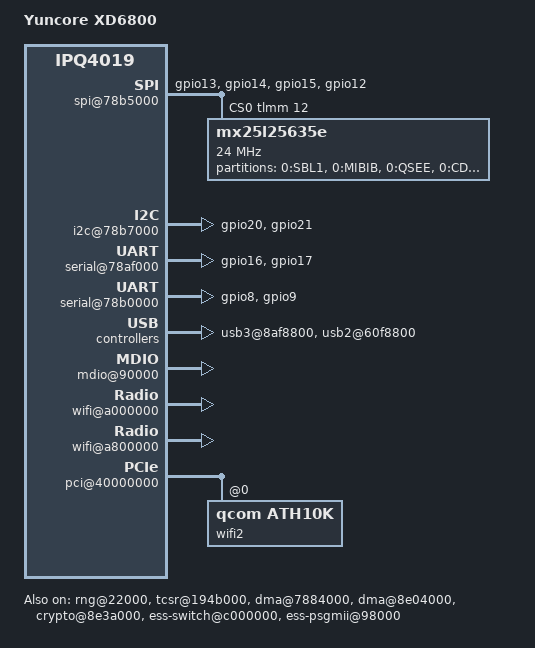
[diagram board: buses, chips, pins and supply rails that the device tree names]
/* Copyright (c) 2015, The Linux Foundation. All rights reserved.
 * Copyright (c) 2017-2018, Sven Eckelmann <sven.eckelmann@openmesh.com>
 *
 * Permission to use, copy, modify, and/or distribute this software for any
 * purpose with or without fee is hereby granted, provided that the above
 * copyright notice and this permission notice appear in all copies.
 *
 * THE SOFTWARE IS PROVIDED "AS IS" AND THE AUTHOR DISCLAIMS ALL WARRANTIES
 * WITH REGARD TO THIS SOFTWARE INCLUDING ALL IMPLIED WARRANTIES OF
 * MERCHANTABILITY AND FITNESS. IN NO EVENT SHALL THE AUTHOR BE LIABLE FOR
 * ANY SPECIAL, DIRECT, INDIRECT, OR CONSEQUENTIAL DAMAGES OR ANY DAMAGES
 * WHATSOEVER RESULTING FROM LOSS OF USE, DATA OR PROFITS, WHETHER IN AN
 * ACTION OF CONTRACT, NEGLIGENCE OR OTHER TORTIOUS ACTION, ARISING OUT OF
 * OR IN CONNECTION WITH THE USE OR PERFORMANCE OF THIS SOFTWARE.
 *
 */

#include "qcom-ipq4019.dtsi"
#include "qcom-ipq4019-bus.dtsi"
#include <dt-bindings/gpio/gpio.h>
#include <dt-bindings/input/input.h>
#include <dt-bindings/soc/qcom,tcsr.h>

/ {
    model = "Yuncore XD6800";
    compatible = "yuncore,xd6800", "qcom,ipq4019";

    aliases {
        ethernet0 = "/soc/edma@c080000/gmac1";
        ethernet1 = "/soc/edma@c080000/gmac0";
    };

    chosen {
        bootargs-append = " clk_ignore_unused";
    };

    soc {
        pinctrl@1000000 {
            serial_0_pins: serial_pinmux { /* serial_pinmux */
                mux {
                    pins = "gpio16", "gpio17";
                    function = "blsp_uart0";
                    bias-disable;
                };
            };

            serial_1_pins: serial1_pinmux {
                mux {
                    pins = "gpio8", "gpio9";
                    function = "blsp_uart1";
                    bias-disable;
                };
            };

            spi_0_pins: spi_0_pinmux {
                pinmux {
                    function = "blsp_spi0";
                    pins = "gpio13", "gpio14", "gpio15";
                };
                pinmux_cs {
                    function = "gpio";
                    pins = "gpio12";
                };
                pinconf {
                    pins = "gpio13", "gpio14", "gpio15";
                    drive-strength = <12>;
                    bias-disable;
                };
                pinconf_cs {
                    pins = "gpio12";
                    drive-strength = <2>;
                    bias-disable;
                    output-high;
                };
            };

            i2c_0_pins: i2c_0_pinmux {
                pins = "gpio20", "gpio21";
                function = "blsp_i2c0";
                bias-disable;
            };
        };

        spi@78b5000 {
            compatible = "qcom,spi-qup-v2.2.1";
            #address-cells = <0x00000001>;
            #size-cells = <0x00000000>;
            pinctrl-0 = <&spi_0_pins>;
            pinctrl-names = "default";
            status = "ok";
            cs-gpios = <&tlmm 12 GPIO_ACTIVE_HIGH>;

            mx25l25635e@0 {
                #address-cells = <1>;
                #size-cells = <1>;
                reg = <0>;
                compatible = "mx25l25635e";
                spi-max-frequency = <24000000>;

                partitions {
                    compatible = "fixed-partitions";
                    #address-cells = <1>;
                    #size-cells = <1>;

                    SBL1@0 {
                        label = "0:SBL1";
                        reg = <0x00000000 0x00040000>;
                        read-only;
                    };
                    MIBIB@40000 {
                        label = "0:MIBIB";
                        reg = <0x00040000 0x00020000>;
                        read-only;
                    };
                    QSEE@60000 {
                        label = "0:QSEE";
                        reg = <0x00060000 0x00060000>;
                        read-only;
                    };
                    CDT@c0000 {
                        label = "0:CDT";
                        reg = <0x000c0000 0x00010000>;
                        read-only;
                    };
                    DDRPARAMS@d0000 {
                        label = "0:DDRPARAMS";
                        reg = <0x000d0000 0x00010000>;
                        read-only;
                    };
                    u-boot-env@e0000 {
                        label = "0:APPSBLENV"; /* uboot env*/
                        reg = <0x000e0000 0x00010000>;
                        read-only;
                    };
                    u-boot@f0000 {
                        label = "0:APPSBL"; /* uboot */
                        reg = <0x000f0000 0x00080000>;
                        read-only;
                    };
                    art@170000 {
                        label = "0:ART";
                        reg = <0x00170000 0x00010000>;
                        read-only;
                    };
                    kernel@180000 {
                        label = "kernel";
                        reg = <0x00180000 0x00400000>;
                    };
                    rootfs@580000 {
                        label = "rootfs";
                        reg = <0x00580000 0x01600000>;
                    };
                    firmware@180000 {
                        label = "firmware";
                        reg = <0x00180000 0x01a00000>;
                    };
                };
            };
        };

        i2c@78b7000 {
            compatible = "qcom,i2c-msm-v2";
            #address-cells = <0x00000001>;
            #size-cells = <0x00000000>;
            pinctrl-0 = <&i2c_0_pins>;
            pinctrl-1 = <&i2c_0_pins>;
            pinctrl-names = "i2c_active", "i2c_sleep";
            status = "ok";
        };

        serial@78af000 {
            pinctrl-0 = <&serial_0_pins>;
            pinctrl-names = "default";
            status = "ok";
        };

        serial@78b0000 {
            pinctrl-0 = <&serial_1_pins>;
            pinctrl-names = "default";
            status = "ok";
        };

        rng@22000 {
            compatible = "qcom,prng";
            status = "ok";
        };

        tcsr@194b000 {
            /* select hostmode */
            compatible = "qcom,tcsr";
            reg = <0x194b000 0x100>;
            qcom,usb-hsphy-mode-select = <TCSR_USB_HSPHY_HOST_MODE>;
            status = "ok";
        };

        ess_tcsr@1953000 {
            compatible = "qcom,tcsr";
            reg = <0x1953000 0x1000>;
            qcom,ess-interface-select = <TCSR_ESS_PSGMII>;
        };

        tcsr@1949000 {
            compatible = "qcom,tcsr";
            reg = <0x1949000 0x100>;
            qcom,wifi_glb_cfg = <TCSR_WIFI_GLB_CFG>;
        };

        tcsr@1957000 {
            compatible = "qcom,tcsr";
            reg = <0x1957000 0x100>;
            qcom,wifi_noc_memtype_m0_m2 = <TCSR_WIFI_NOC_MEMTYPE_M0_M2>;
        };

        dma@7884000 {
            compatible = "qcom,bam-v1.7.0";
            qcom,ee = <0x00000000>;
            status = "ok";
        };

        dma@8e04000 {
            compatible = "qcom,bam-v1.7.0";
            qcom,ee = <0x00000001>;
            qcom,controlled-remotely;
            status = "ok";
        };

        crypto@8e3a000 {
            compatible = "qcom,crypto-v5.1";
            status = "ok";
        };

        qcom,nand@7980000 {
            status = "disabled";
        };

        watchdog@b017000 {
            status = "ok";
        };

        /* usb */
        ssphy@9a000 {
            status = "ok";
        };
        hsphy@a6000 {
            status = "ok";
        };
        hsphy@a8000 {
            status = "ok";
        };
        usb3@8af8800 {
            status = "ok";
        };
        usb2@60f8800 {
            status = "ok";
        };

        /* ethernet */
        mdio@90000 {
            compatible = "qcom,ipq4019-mdio";
            #address-cells = <0x00000001>;
            #size-cells = <0x00000001>;
            status = "ok";
        };
        ess-switch@c000000 {
            compatible = "qcom,ess-switch";
            status = "ok";
        };
        ess-psgmii@98000 {
            compatible = "qcom,ess-psgmii";
            psgmii_access_mode = "local bus";
            status = "ok";
        };
        edma@c080000 {
            status = "ok";
        };

        /* wireless */
        wifi@a000000 {
            compatible = "qcom,ipq4019-wifi";
            status = "ok";
        };
        wifi@a800000 {
            compatible = "qcom,ipq4019-wifi";
            status = "ok";
        };
        pci@40000000 {
            perst-gpio = <&tlmm 38 GPIO_ACTIVE_LOW>;
            wake-gpio = <&tlmm 50 GPIO_ACTIVE_LOW>;
            status = "ok";

            pcie@0 {
                reg = <0 0 0 0 0>;
                #interrupt-cells = <1>;
                #size-cells = <2>;
                #address-cells = <3>;
                device_type = "pci";

                wifi2: ath10k@0,0 {
                    reg = <0 0 0 0 0>;
                    compatible = "qcom,ath10k";
                    status = "ok";
                    device_type = "pci";
                    qcom,mtd-name = "0:ART";
                    qcom,cal-offset = <0x00009000>;
                    qcom,cal-len = <0x00002f20>;
                };
            };
        };
    };
};
